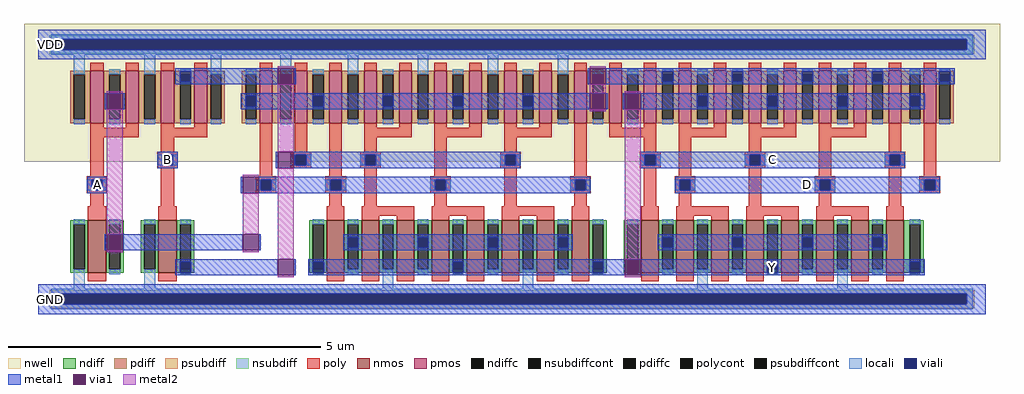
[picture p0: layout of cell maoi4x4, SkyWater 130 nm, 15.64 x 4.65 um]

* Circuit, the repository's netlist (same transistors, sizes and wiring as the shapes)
** sch_path: /foss/designs/maoi4x4.sch
.subckt maoi4x4 A VDD GND B Y D C
*.PININFO A:I VDD:B GND:B B:I Y:O D:I C:I
XM9 Anot A GND GND sky130_fd_pr__nfet_01v8 L=0.29 W=0.84 nf=1
XM2 Y Anot net1 GND sky130_fd_pr__nfet_01v8 L=0.28 W=3.36 nf=4
XM5 net3 Anot VDD VDD sky130_fd_pr__pfet_01v8 L=0.2 W=4.2 nf=5
XM10 Anot A VDD VDD sky130_fd_pr__pfet_01v8 L=0.21 W=1.68 nf=2
XM7 net3 Bnot VDD VDD sky130_fd_pr__pfet_01v8 L=0.2 W=4.2 nf=5
XM8 Y D net3 VDD sky130_fd_pr__pfet_01v8 L=0.2 W=4.2 nf=5
XM6 Y C net3 VDD sky130_fd_pr__pfet_01v8 L=0.2 W=4.2 nf=5
XM4 Y C net2 GND sky130_fd_pr__nfet_01v8 L=0.28 W=3.36 nf=4
XM3 net2 D GND GND sky130_fd_pr__nfet_01v8 L=0.28 W=3.36 nf=4
XM1 net1 Bnot GND GND sky130_fd_pr__nfet_01v8 L=0.28 W=3.36 nf=4
XM11 Bnot B GND GND sky130_fd_pr__nfet_01v8 L=0.29 W=0.84 nf=1
XM12 Bnot B VDD VDD sky130_fd_pr__pfet_01v8 L=0.21 W=1.68 nf=2
.ends

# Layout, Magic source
magic
tech sky130A
magscale 1 2
<< nwell >>
rect -46 440 3082 882
<< nmos >>
rect 159 84 217 252
rect 385 84 443 252
rect 925 84 981 252
rect 1037 84 1093 252
rect 1149 84 1205 252
rect 1261 84 1317 252
rect 1373 84 1429 252
rect 1485 84 1541 252
rect 1597 84 1653 252
rect 1709 84 1765 252
rect 1933 84 1989 252
rect 2045 84 2101 252
rect 2157 84 2213 252
rect 2269 84 2325 252
rect 2381 84 2437 252
rect 2493 84 2549 252
rect 2605 84 2661 252
rect 2717 84 2773 252
<< pmos >>
rect 167 564 209 732
rect 280 564 322 732
rect 393 564 435 732
rect 499 564 541 732
rect 709 564 749 732
rect 821 564 861 732
rect 933 564 973 732
rect 1045 564 1085 732
rect 1157 564 1197 732
rect 1269 564 1309 732
rect 1381 564 1421 732
rect 1493 564 1533 732
rect 1605 564 1645 732
rect 1717 564 1757 732
rect 1829 564 1869 732
rect 1941 564 1981 732
rect 2053 564 2093 732
rect 2165 564 2205 732
rect 2277 564 2317 732
rect 2389 564 2429 732
rect 2501 564 2541 732
rect 2613 564 2653 732
rect 2725 564 2765 732
rect 2837 564 2877 732
<< ndiff >>
rect 102 240 159 252
rect 102 96 114 240
rect 148 96 159 240
rect 102 84 159 96
rect 217 240 274 252
rect 217 96 228 240
rect 262 96 274 240
rect 217 84 274 96
rect 328 240 385 252
rect 328 96 340 240
rect 374 96 385 240
rect 328 84 385 96
rect 443 240 500 252
rect 443 96 454 240
rect 488 96 500 240
rect 443 84 500 96
rect 868 240 925 252
rect 868 96 880 240
rect 914 96 925 240
rect 868 84 925 96
rect 981 240 1037 252
rect 981 96 992 240
rect 1026 96 1037 240
rect 981 84 1037 96
rect 1093 240 1149 252
rect 1093 96 1104 240
rect 1138 96 1149 240
rect 1093 84 1149 96
rect 1205 240 1261 252
rect 1205 96 1216 240
rect 1250 96 1261 240
rect 1205 84 1261 96
rect 1317 240 1373 252
rect 1317 96 1328 240
rect 1362 96 1373 240
rect 1317 84 1373 96
rect 1429 240 1485 252
rect 1429 96 1440 240
rect 1474 96 1485 240
rect 1429 84 1485 96
rect 1541 240 1597 252
rect 1541 96 1552 240
rect 1586 96 1597 240
rect 1541 84 1597 96
rect 1653 240 1709 252
rect 1653 96 1664 240
rect 1698 96 1709 240
rect 1653 84 1709 96
rect 1765 240 1822 252
rect 1765 96 1776 240
rect 1810 96 1822 240
rect 1765 84 1822 96
rect 1876 240 1933 252
rect 1876 96 1888 240
rect 1922 96 1933 240
rect 1876 84 1933 96
rect 1989 240 2045 252
rect 1989 96 2000 240
rect 2034 96 2045 240
rect 1989 84 2045 96
rect 2101 240 2157 252
rect 2101 96 2112 240
rect 2146 96 2157 240
rect 2101 84 2157 96
rect 2213 240 2269 252
rect 2213 96 2224 240
rect 2258 96 2269 240
rect 2213 84 2269 96
rect 2325 240 2381 252
rect 2325 96 2336 240
rect 2370 96 2381 240
rect 2325 84 2381 96
rect 2437 240 2493 252
rect 2437 96 2448 240
rect 2482 96 2493 240
rect 2437 84 2493 96
rect 2549 240 2605 252
rect 2549 96 2560 240
rect 2594 96 2605 240
rect 2549 84 2605 96
rect 2661 240 2717 252
rect 2661 96 2672 240
rect 2706 96 2717 240
rect 2661 84 2717 96
rect 2773 240 2838 252
rect 2773 96 2792 240
rect 2826 96 2838 240
rect 2773 84 2838 96
<< pdiff >>
rect 102 720 167 732
rect 102 576 114 720
rect 148 576 167 720
rect 102 564 167 576
rect 209 720 280 732
rect 209 576 228 720
rect 262 576 280 720
rect 209 564 280 576
rect 322 720 393 732
rect 322 576 340 720
rect 374 576 393 720
rect 322 564 393 576
rect 435 720 499 732
rect 435 576 454 720
rect 488 576 499 720
rect 435 564 499 576
rect 541 720 598 732
rect 541 576 552 720
rect 586 576 598 720
rect 541 564 598 576
rect 652 720 709 732
rect 652 576 664 720
rect 698 576 709 720
rect 652 564 709 576
rect 749 720 821 732
rect 749 576 776 720
rect 810 576 821 720
rect 749 564 821 576
rect 861 720 933 732
rect 861 576 880 720
rect 914 576 933 720
rect 861 564 933 576
rect 973 720 1045 732
rect 973 576 992 720
rect 1026 576 1045 720
rect 973 564 1045 576
rect 1085 720 1157 732
rect 1085 576 1104 720
rect 1138 576 1157 720
rect 1085 564 1157 576
rect 1197 720 1269 732
rect 1197 576 1216 720
rect 1250 576 1269 720
rect 1197 564 1269 576
rect 1309 720 1381 732
rect 1309 576 1328 720
rect 1362 576 1381 720
rect 1309 564 1381 576
rect 1421 720 1493 732
rect 1421 576 1440 720
rect 1474 576 1493 720
rect 1421 564 1493 576
rect 1533 720 1605 732
rect 1533 576 1552 720
rect 1586 576 1605 720
rect 1533 564 1605 576
rect 1645 720 1717 732
rect 1645 576 1664 720
rect 1698 576 1717 720
rect 1645 564 1717 576
rect 1757 720 1829 732
rect 1757 576 1776 720
rect 1810 576 1829 720
rect 1757 564 1829 576
rect 1869 720 1941 732
rect 1869 576 1888 720
rect 1922 576 1941 720
rect 1869 564 1941 576
rect 1981 720 2053 732
rect 1981 576 2000 720
rect 2034 576 2053 720
rect 1981 564 2053 576
rect 2093 720 2165 732
rect 2093 576 2112 720
rect 2146 576 2165 720
rect 2093 564 2165 576
rect 2205 720 2277 732
rect 2205 576 2224 720
rect 2258 576 2277 720
rect 2205 564 2277 576
rect 2317 720 2389 732
rect 2317 576 2336 720
rect 2370 576 2389 720
rect 2317 564 2389 576
rect 2429 720 2501 732
rect 2429 576 2448 720
rect 2482 576 2501 720
rect 2429 564 2501 576
rect 2541 720 2613 732
rect 2541 576 2560 720
rect 2594 576 2613 720
rect 2541 564 2613 576
rect 2653 720 2725 732
rect 2653 576 2672 720
rect 2706 576 2725 720
rect 2653 564 2725 576
rect 2765 720 2837 732
rect 2765 576 2792 720
rect 2826 576 2837 720
rect 2765 564 2837 576
rect 2877 720 2934 732
rect 2877 576 2888 720
rect 2922 576 2934 720
rect 2877 564 2934 576
<< ndiffc >>
rect 114 96 148 240
rect 228 96 262 240
rect 340 96 374 240
rect 454 96 488 240
rect 880 96 914 240
rect 992 96 1026 240
rect 1104 96 1138 240
rect 1216 96 1250 240
rect 1328 96 1362 240
rect 1440 96 1474 240
rect 1552 96 1586 240
rect 1664 96 1698 240
rect 1776 96 1810 240
rect 1888 96 1922 240
rect 2000 96 2034 240
rect 2112 96 2146 240
rect 2224 96 2258 240
rect 2336 96 2370 240
rect 2448 96 2482 240
rect 2560 96 2594 240
rect 2672 96 2706 240
rect 2792 96 2826 240
<< pdiffc >>
rect 114 576 148 720
rect 228 576 262 720
rect 340 576 374 720
rect 454 576 488 720
rect 552 576 586 720
rect 664 576 698 720
rect 776 576 810 720
rect 880 576 914 720
rect 992 576 1026 720
rect 1104 576 1138 720
rect 1216 576 1250 720
rect 1328 576 1362 720
rect 1440 576 1474 720
rect 1552 576 1586 720
rect 1664 576 1698 720
rect 1776 576 1810 720
rect 1888 576 1922 720
rect 2000 576 2034 720
rect 2112 576 2146 720
rect 2224 576 2258 720
rect 2336 576 2370 720
rect 2448 576 2482 720
rect 2560 576 2594 720
rect 2672 576 2706 720
rect 2792 576 2826 720
rect 2888 576 2922 720
<< psubdiff >>
rect 36 17 3000 29
rect 36 -17 60 17
rect 2976 -17 3000 17
rect 36 -29 3000 -17
<< nsubdiff >>
rect 36 833 3000 845
rect 36 799 60 833
rect 2976 799 3000 833
rect 36 787 3000 799
<< psubdiffcont >>
rect 60 -17 2976 17
<< nsubdiffcont >>
rect 60 799 2976 833
<< poly >>
rect 167 732 209 758
rect 280 732 322 758
rect 393 732 435 758
rect 499 732 541 758
rect 709 732 749 758
rect 821 732 861 758
rect 933 732 973 758
rect 1045 732 1085 758
rect 1157 732 1197 758
rect 1269 732 1309 758
rect 1381 732 1421 758
rect 1493 732 1533 758
rect 1605 732 1645 758
rect 1717 732 1757 758
rect 1829 732 1869 758
rect 1941 732 1981 758
rect 2053 732 2093 758
rect 2165 732 2205 758
rect 2277 732 2317 758
rect 2389 732 2429 758
rect 2501 732 2541 758
rect 2613 732 2653 758
rect 2725 732 2765 758
rect 2837 732 2877 758
rect 167 549 209 564
rect 280 549 322 564
rect 167 519 322 549
rect 393 549 435 564
rect 499 549 541 564
rect 393 519 541 549
rect 167 393 209 519
rect 393 473 435 519
rect 381 463 447 473
rect 381 429 397 463
rect 431 429 447 463
rect 381 419 447 429
rect 155 383 221 393
rect 155 349 171 383
rect 205 349 221 383
rect 155 339 221 349
rect 167 297 209 339
rect 393 297 435 419
rect 709 393 749 564
rect 821 473 861 564
rect 808 463 874 473
rect 808 429 824 463
rect 858 429 874 463
rect 808 419 874 429
rect 933 393 973 564
rect 1045 549 1085 564
rect 1157 549 1197 564
rect 1045 519 1197 549
rect 1269 549 1309 564
rect 1381 549 1421 564
rect 1269 519 1421 549
rect 1493 549 1533 564
rect 1605 549 1645 564
rect 1493 519 1645 549
rect 1045 473 1085 519
rect 1032 463 1098 473
rect 1032 429 1048 463
rect 1082 429 1098 463
rect 1032 419 1098 429
rect 696 383 762 393
rect 696 349 712 383
rect 746 349 762 383
rect 696 339 762 349
rect 920 383 986 393
rect 920 349 936 383
rect 970 349 986 383
rect 920 339 986 349
rect 933 297 973 339
rect 1045 297 1085 419
rect 1269 393 1309 519
rect 1493 473 1533 519
rect 1480 463 1546 473
rect 1480 429 1496 463
rect 1530 429 1546 463
rect 1480 419 1546 429
rect 1256 383 1322 393
rect 1256 349 1272 383
rect 1306 349 1322 383
rect 1256 339 1322 349
rect 1269 297 1309 339
rect 1493 297 1533 419
rect 1717 393 1757 564
rect 1829 549 1869 564
rect 1941 549 1981 564
rect 1829 519 1981 549
rect 1941 473 1981 519
rect 2053 549 2093 564
rect 2165 549 2205 564
rect 2053 519 2205 549
rect 2277 549 2317 564
rect 2389 549 2429 564
rect 2277 519 2429 549
rect 2501 549 2541 564
rect 2613 549 2653 564
rect 2501 519 2653 549
rect 1928 463 1994 473
rect 1928 429 1944 463
rect 1978 429 1994 463
rect 1928 419 1994 429
rect 1704 383 1770 393
rect 1704 349 1720 383
rect 1754 349 1770 383
rect 1704 339 1770 349
rect 1717 297 1757 339
rect 1941 297 1981 419
rect 2053 393 2093 519
rect 2277 473 2317 519
rect 2264 463 2330 473
rect 2264 429 2280 463
rect 2314 429 2330 463
rect 2264 419 2330 429
rect 2040 383 2106 393
rect 2040 349 2056 383
rect 2090 349 2106 383
rect 2040 339 2106 349
rect 2053 297 2093 339
rect 2277 297 2317 419
rect 2501 393 2541 519
rect 2725 473 2765 564
rect 2712 463 2778 473
rect 2712 429 2728 463
rect 2762 429 2778 463
rect 2712 419 2778 429
rect 2488 383 2554 393
rect 2488 349 2504 383
rect 2538 349 2554 383
rect 2488 339 2554 349
rect 2501 297 2541 339
rect 2725 297 2765 419
rect 2837 393 2877 564
rect 2824 383 2890 393
rect 2824 349 2840 383
rect 2874 349 2890 383
rect 2824 339 2890 349
rect 159 252 217 297
rect 385 252 443 297
rect 925 252 981 297
rect 1037 267 1205 297
rect 1037 252 1093 267
rect 1149 252 1205 267
rect 1261 267 1429 297
rect 1261 252 1317 267
rect 1373 252 1429 267
rect 1485 267 1653 297
rect 1485 252 1541 267
rect 1597 252 1653 267
rect 1709 252 1765 297
rect 1933 252 1989 297
rect 2045 267 2213 297
rect 2045 252 2101 267
rect 2157 252 2213 267
rect 2269 267 2437 297
rect 2269 252 2325 267
rect 2381 252 2437 267
rect 2493 267 2661 297
rect 2493 252 2549 267
rect 2605 252 2661 267
rect 2717 252 2773 297
rect 159 58 217 84
rect 385 58 443 84
rect 925 58 981 84
rect 1037 58 1093 84
rect 1149 58 1205 84
rect 1261 58 1317 84
rect 1373 58 1429 84
rect 1485 58 1541 84
rect 1597 58 1653 84
rect 1709 58 1765 84
rect 1933 58 1989 84
rect 2045 58 2101 84
rect 2157 58 2213 84
rect 2269 58 2325 84
rect 2381 58 2437 84
rect 2493 58 2549 84
rect 2605 58 2661 84
rect 2717 58 2773 84
<< polycont >>
rect 397 429 431 463
rect 171 349 205 383
rect 824 429 858 463
rect 1048 429 1082 463
rect 712 349 746 383
rect 936 349 970 383
rect 1496 429 1530 463
rect 1272 349 1306 383
rect 1944 429 1978 463
rect 1720 349 1754 383
rect 2280 429 2314 463
rect 2056 349 2090 383
rect 2728 429 2762 463
rect 2504 349 2538 383
rect 2840 349 2874 383
<< locali >>
rect 42 833 2994 849
rect 42 799 60 833
rect 2976 799 2994 833
rect 42 783 2994 799
rect 114 720 148 783
rect 114 560 148 576
rect 228 720 262 736
rect 228 560 262 576
rect 340 720 374 783
rect 340 560 374 576
rect 454 731 488 736
rect 454 560 488 576
rect 552 720 586 783
rect 552 560 586 576
rect 664 720 698 736
rect 664 560 698 576
rect 776 720 810 783
rect 776 560 810 576
rect 880 720 914 736
rect 880 560 914 576
rect 992 720 1026 783
rect 992 560 1026 576
rect 1104 720 1138 736
rect 1104 560 1138 576
rect 1216 720 1250 783
rect 1216 560 1250 576
rect 1328 720 1362 736
rect 1328 560 1362 576
rect 1440 720 1474 783
rect 1440 560 1474 576
rect 1552 720 1586 736
rect 1552 560 1586 576
rect 1664 720 1698 783
rect 1664 560 1698 576
rect 1776 720 1810 736
rect 1776 560 1810 576
rect 1888 720 1922 736
rect 1888 560 1922 576
rect 2000 731 2034 736
rect 2000 560 2034 576
rect 2112 720 2146 736
rect 2112 560 2146 576
rect 2224 731 2258 736
rect 2224 560 2258 576
rect 2336 720 2370 736
rect 2336 560 2370 576
rect 2448 731 2482 736
rect 2448 560 2482 576
rect 2560 720 2594 736
rect 2560 560 2594 576
rect 2672 731 2706 736
rect 2672 560 2706 576
rect 2792 720 2826 736
rect 2792 560 2826 576
rect 2888 731 2922 736
rect 2888 560 2922 576
rect 381 429 397 463
rect 431 429 447 463
rect 808 429 824 463
rect 858 429 874 463
rect 1032 429 1048 463
rect 1082 429 1098 463
rect 1480 429 1496 463
rect 1530 429 1546 463
rect 1928 429 1944 463
rect 1978 429 1994 463
rect 2264 429 2280 463
rect 2314 429 2330 463
rect 2712 429 2728 463
rect 2762 429 2778 463
rect 155 349 171 383
rect 205 349 221 383
rect 696 349 712 383
rect 746 349 762 383
rect 920 349 936 383
rect 970 349 986 383
rect 1256 349 1272 383
rect 1306 349 1322 383
rect 1704 349 1720 383
rect 1754 349 1770 383
rect 2040 349 2056 383
rect 2090 349 2106 383
rect 2488 349 2504 383
rect 2538 349 2554 383
rect 2824 349 2840 383
rect 2874 349 2890 383
rect 114 240 148 256
rect 114 33 148 96
rect 228 240 262 256
rect 228 80 262 96
rect 340 240 374 256
rect 340 33 374 96
rect 454 240 488 256
rect 454 80 488 85
rect 880 240 914 256
rect 880 80 914 85
rect 992 240 1026 256
rect 992 80 1026 96
rect 1104 240 1138 256
rect 1104 33 1138 96
rect 1216 240 1250 256
rect 1216 80 1250 96
rect 1328 240 1362 256
rect 1328 80 1362 85
rect 1440 240 1474 256
rect 1440 80 1474 96
rect 1552 240 1586 256
rect 1552 33 1586 96
rect 1664 240 1698 256
rect 1664 80 1698 96
rect 1776 240 1810 256
rect 1776 80 1810 85
rect 1888 240 1922 256
rect 1888 80 1922 85
rect 2000 240 2034 256
rect 2000 80 2034 96
rect 2112 240 2146 256
rect 2112 33 2146 96
rect 2224 240 2258 256
rect 2224 80 2258 96
rect 2336 240 2370 256
rect 2336 80 2370 85
rect 2448 240 2482 256
rect 2448 80 2482 96
rect 2560 240 2594 256
rect 2560 33 2594 96
rect 2672 240 2706 256
rect 2672 80 2706 96
rect 2792 240 2826 256
rect 2792 80 2826 85
rect 42 17 2994 33
rect 42 -17 60 17
rect 2976 -17 2994 17
rect 42 -33 2994 -17
<< viali >>
rect 60 799 2976 833
rect 228 617 262 651
rect 454 720 488 731
rect 454 697 488 720
rect 664 617 698 651
rect 880 617 914 651
rect 1104 617 1138 651
rect 1328 617 1362 651
rect 1552 617 1586 651
rect 1776 617 1810 651
rect 1888 617 1922 651
rect 2000 720 2034 731
rect 2000 697 2034 720
rect 2112 617 2146 651
rect 2224 720 2258 731
rect 2224 697 2258 720
rect 2336 617 2370 651
rect 2448 720 2482 731
rect 2448 697 2482 720
rect 2560 617 2594 651
rect 2672 720 2706 731
rect 2672 697 2706 720
rect 2792 617 2826 651
rect 2888 720 2922 731
rect 2888 697 2922 720
rect 397 429 431 463
rect 824 429 858 463
rect 1048 429 1082 463
rect 1496 429 1530 463
rect 1944 429 1978 463
rect 2280 429 2314 463
rect 2728 429 2762 463
rect 171 349 205 383
rect 712 349 746 383
rect 936 349 970 383
rect 1272 349 1306 383
rect 1720 349 1754 383
rect 2056 349 2090 383
rect 2504 349 2538 383
rect 2840 349 2874 383
rect 228 165 262 199
rect 454 96 488 119
rect 454 85 488 96
rect 880 96 914 119
rect 880 85 914 96
rect 992 165 1026 199
rect 1216 165 1250 199
rect 1328 96 1362 119
rect 1328 85 1362 96
rect 1440 165 1474 199
rect 1664 165 1698 199
rect 1776 96 1810 119
rect 1776 85 1810 96
rect 1888 96 1922 119
rect 1888 85 1922 96
rect 2000 165 2034 199
rect 2224 165 2258 199
rect 2336 96 2370 119
rect 2336 85 2370 96
rect 2448 165 2482 199
rect 2672 165 2706 199
rect 2792 96 2826 119
rect 2792 85 2826 96
rect 60 -17 2976 17
<< metal1 >>
rect 0 833 3036 864
rect 0 799 60 833
rect 2976 799 3036 833
rect 0 768 3036 799
rect 439 731 767 740
rect 439 697 454 731
rect 488 697 767 731
rect 439 688 767 697
rect 819 688 825 740
rect 1761 688 1767 740
rect 1819 731 2937 740
rect 1819 697 2000 731
rect 2034 697 2224 731
rect 2258 697 2448 731
rect 2482 697 2672 731
rect 2706 697 2888 731
rect 2922 697 2937 731
rect 1819 688 2937 697
rect 213 608 219 660
rect 271 608 277 660
rect 649 651 1767 660
rect 649 617 664 651
rect 698 617 880 651
rect 914 617 1104 651
rect 1138 617 1328 651
rect 1362 617 1552 651
rect 1586 617 1767 651
rect 649 608 1767 617
rect 1819 608 1825 660
rect 1873 608 1879 660
rect 1931 651 2841 660
rect 1931 617 2112 651
rect 2146 617 2336 651
rect 2370 617 2560 651
rect 2594 617 2792 651
rect 2826 617 2841 651
rect 1931 608 2841 617
rect 382 463 446 472
rect 382 429 397 463
rect 431 429 446 463
rect 382 420 446 429
rect 761 420 767 472
rect 819 463 1545 472
rect 819 429 824 463
rect 858 429 1048 463
rect 1082 429 1496 463
rect 1530 429 1545 463
rect 819 420 1545 429
rect 1929 463 2777 472
rect 1929 429 1944 463
rect 1978 429 2280 463
rect 2314 429 2728 463
rect 2762 429 2777 463
rect 1929 420 2777 429
rect 156 383 220 392
rect 156 349 171 383
rect 205 349 220 383
rect 156 340 220 349
rect 649 340 655 392
rect 707 383 1769 392
rect 707 349 712 383
rect 746 349 936 383
rect 970 349 1272 383
rect 1306 349 1720 383
rect 1754 349 1769 383
rect 707 340 1769 349
rect 2041 383 2889 392
rect 2041 349 2056 383
rect 2090 349 2504 383
rect 2538 349 2840 383
rect 2874 349 2889 383
rect 2041 340 2889 349
rect 213 156 219 208
rect 271 156 655 208
rect 707 156 713 208
rect 977 199 1713 208
rect 977 165 992 199
rect 1026 165 1216 199
rect 1250 165 1440 199
rect 1474 165 1664 199
rect 1698 165 1713 199
rect 977 156 1713 165
rect 1985 199 2721 208
rect 1985 165 2000 199
rect 2034 165 2224 199
rect 2258 165 2448 199
rect 2482 165 2672 199
rect 2706 165 2721 199
rect 1985 156 2721 165
rect 439 119 767 128
rect 439 85 454 119
rect 488 85 767 119
rect 439 76 767 85
rect 819 76 825 128
rect 865 119 1879 128
rect 1931 119 2841 128
rect 865 85 880 119
rect 914 85 1328 119
rect 1362 85 1776 119
rect 1810 85 1879 119
rect 1931 85 2336 119
rect 2370 85 2792 119
rect 2826 85 2841 119
rect 865 76 1879 85
rect 1931 76 2841 85
rect 0 17 3036 48
rect 0 -17 60 17
rect 2976 -17 3036 17
rect 0 -48 3036 -17
<< via1 >>
rect 767 688 819 740
rect 1767 688 1819 740
rect 219 651 271 660
rect 219 617 228 651
rect 228 617 262 651
rect 262 617 271 651
rect 219 608 271 617
rect 1767 651 1819 660
rect 1767 617 1776 651
rect 1776 617 1810 651
rect 1810 617 1819 651
rect 1767 608 1819 617
rect 1879 651 1931 660
rect 1879 617 1888 651
rect 1888 617 1922 651
rect 1922 617 1931 651
rect 1879 608 1931 617
rect 767 420 819 472
rect 655 340 707 392
rect 219 199 271 208
rect 219 165 228 199
rect 228 165 262 199
rect 262 165 271 199
rect 219 156 271 165
rect 655 156 707 208
rect 767 76 819 128
rect 1879 119 1931 128
rect 1879 85 1888 119
rect 1888 85 1922 119
rect 1922 85 1931 119
rect 1879 76 1931 85
<< metal2 >>
rect 767 740 819 746
rect 219 660 271 666
rect 219 208 271 608
rect 767 472 819 688
rect 1767 740 1819 746
rect 1767 660 1819 688
rect 1767 602 1819 608
rect 1879 660 1931 666
rect 219 150 271 156
rect 655 392 707 398
rect 655 208 707 340
rect 655 150 707 156
rect 767 128 819 420
rect 767 70 819 76
rect 1879 128 1931 608
rect 1879 70 1931 76
<< labels >>
rlabel metal1 165 343 211 389 0 A
port 1 nsew
rlabel metal1 10 780 70 852 0 VDD
port 2 nsew
rlabel metal1 10 -36 70 36 0 GND
port 3 nsew
rlabel metal1 391 423 437 469 0 B
port 4 nsew
rlabel metal1 2330 79 2376 125 0 Y
port 5 nsew
rlabel metal1 2442 343 2488 389 0 D
port 6 nsew
rlabel metal1 2330 423 2376 469 0 C
port 7 nsew
<< properties >>
string FIXED_BBOX 0 0 3036 816
<< end >>
